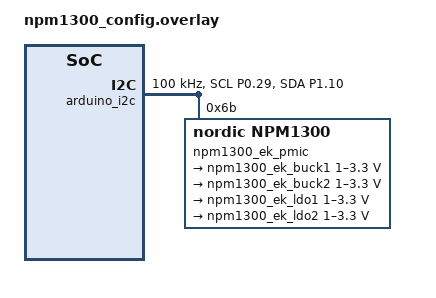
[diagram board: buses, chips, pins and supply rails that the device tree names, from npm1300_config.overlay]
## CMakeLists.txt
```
#
# Copyright (c) 2018 Nordic Semiconductor
#
# SPDX-License-Identifier: LicenseRef-Nordic-5-Clause
#
cmake_minimum_required(VERSION 3.20.0)

list(APPEND EXTRA_ZEPHYR_MODULES
  ${CMAKE_CURRENT_SOURCE_DIR}/../custom_driver_module)

find_package(Zephyr REQUIRED HINTS $ENV{ZEPHYR_BASE})
project(k901_nrf5340)

# set(SHIELD npm1300_ek)
set(LVGL_DIR ${ZEPHYR_LVGL_MODULE_DIR})
FILE(GLOB app_sources src/*.c)
target_include_directories(app PRIVATE ${CMAKE_CURRENT_SOURCE_DIR}/src/.)

target_include_directories(app PRIVATE ${LVGL_DIR}/demos/)

list(APPEND CMAKE_MODULE_PATH ${ZEPHYR_BASE}/modules/nanopb)
include(nanopb)

# zephyr_library()
# zephyr_include_directories(${CMAKE_CURRENT_BINARY_DIR})
# zephyr_nanopb_sources(${ZEPHYR_CURRENT_LIBRARY} mentraos_ble.proto)
# zephyr_nanopb_sources(app ${CMAKE_CURRENT_SOURCE_DIR}/mentraos_ble.proto)

# NORDIC SDK APP START
target_sources(app PRIVATE src/main.c)
add_subdirectory(src/BspLog)
add_subdirectory(src/xyzn_driver/bsp)
add_subdirectory(src/xyzn_driver/bspal)
add_subdirectory(src/xyzn_app)
add_subdirectory(src/xyzn_app/protocol_ble)
add_subdirectory(src/xyzn_components/xyzn_ble)
add_subdirectory(src/xyzn_components/xyzn_util)
add_subdirectory(src/xyzn_components/xyzn_sysport)
add_subdirectory(src/xyzn_components/xyzn_lvgl_display)
add_subdirectory(src/xyzn_components/xyzn_battery)
add_subdirectory(src/xyzn_components/xyzn_pdm)
add_subdirectory(src/xyzn_components/xyzn_proto)

target_sources_ifdef(CONFIG_LV_USE_DEMO_BENCHMARK app PRIVATE
    ${LVGL_DIR}/demos/benchmark/assets/img_benchmark_avatar.c
    ${LVGL_DIR}/demos/benchmark/assets/img_benchmark_lvgl_logo_argb.c
    ${LVGL_DIR}/demos/benchmark/assets/img_benchmark_lvgl_logo_rgb.c
    ${LVGL_DIR}/demos/benchmark/assets/lv_font_benchmark_montserrat_12_compr_az.c.c
    ${LVGL_DIR}/demos/benchmark/assets/lv_font_benchmark_montserrat_16_compr_az.c.c
    ${LVGL_DIR}/demos/benchmark/assets/lv_font_benchmark_montserrat_28_compr_az.c.c
    ${LVGL_DIR}/demos/benchmark/lv_demo_benchmark.c
)

target_sources_ifdef(CONFIG_LV_USE_DEMO_WIDGETS app PRIVATE
    ${LVGL_DIR}/demos/widgets/assets/img_clothes.c
    ${LVGL_DIR}/demos/widgets/assets/img_demo_widgets_avatar.c
    ${LVGL_DIR}/demos/widgets/assets/img_demo_widgets_needle.c
    ${LVGL_DIR}/demos/widgets/assets/img_lvgl_logo.c
    ${LVGL_DIR}/demos/widgets/lv_demo_widgets.c
)

zephyr_library_include_directories(.)

# NORDIC SDK APP END
```

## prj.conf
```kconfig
# Enable the UART driver
CONFIG_UART_ASYNC_API=n
CONFIG_NRFX_UARTE0=n
CONFIG_SERIAL=n # 开启/关闭串口


# 设置log延时模式
CONFIG_LOG_MODE_DEFERRED=y
#设置log同步模式
CONFIG_LOG_MODE_IMMEDIATE=n
#设置log最小模式
CONFIG_LOG_MODE_MINIMAL=n
#允许丢弃旧的消息
CONFIG_LOG_MODE_OVERFLOW=n
#设置log缓存大小
CONFIG_LOG_BUFFER_SIZE=1024
# # 设置log打印级别
# CONFIG_LOG_DEFAULT_LEVEL=4
# #设置INFO级别log颜色为绿色
# CONFIG_LOG_INFO_COLOR_GREEN=y
# # #设置log打印错误为红色警告为黄色
# CONFIG_LOG_BACKEND_SHOW_COLOR=y
# 开启log打印模块
CONFIG_CONSOLE=y

# Config logger
CONFIG_LOG=y
# 开启rtt log打印
CONFIG_USE_SEGGER_RTT=y 
# 开启rtt log打印缓冲
CONFIG_LOG_BACKEND_RTT=y 
CONFIG_LOG_BACKEND_UART=n
# 开启log打印模块，接管printk打印
CONFIG_LOG_PRINTK=y         
CONFIG_ASSERT=y
 # 开启/ 关闭log rtt打印模块
CONFIG_RTT_CONSOLE=y   
# 开启/关闭log串口打印模块
CONFIG_UART_CONSOLE=n   

CONFIG_LOG_MODE_IMMEDIATE=y 
# 配置rtt打印缓存大小
CONFIG_SEGGER_RTT_BUFFER_SIZE_UP=4096
# 浮点打印开关，占用code 1K左右
CONFIG_CBPRINTF_FP_SUPPORT=y

# 堆内存池大小（字节）
CONFIG_HEAP_MEM_POOL_SIZE=40960

# CONFIG_BT_GATT_DYNAMIC_DB=y
CONFIG_BT=y
CONFIG_BT_DEVICE_APPEARANCE=448
CONFIG_BT_PERIPHERAL=y
# CONFIG_BT_DEVICE_NAME="Nordic_UART_Service_test"
CONFIG_BT_DEVICE_NAME_DYNAMIC=y
CONFIG_BT_MAX_CONN=1
CONFIG_BT_MAX_PAIRED=1
#设置 Bluetooth LE 接收线程的栈空间
CONFIG_BT_RX_STACK_SIZE=2048
#设置 Bluetooth LE 发送线程的栈空间
CONFIG_BT_HCI_TX_STACK_SIZE=1024
#多协议服务层（MPSL）相关线程的栈空间
CONFIG_MPSL_WORK_STACK_SIZE=1024

CONFIG_BT_L2CAP_TX_MTU=517
CONFIG_BT_BUF_ACL_TX_SIZE=521
CONFIG_BT_BUF_ACL_RX_SIZE=521
CONFIG_BT_BUF_ACL_TX_COUNT=7
# CONFIG_BT_CTLR_DATA_LENGTH_MAX=251

# Enable the NUS service
# CONFIG_BT_NUS=y
CONFIG_BT_USER_PHY_UPDATE=y
CONFIG_BT_USER_DATA_LEN_UPDATE=y

CONFIG_NRF_SECURITY=y
CONFIG_MBEDTLS_PSA_CRYPTO_C=y
CONFIG_PSA_WANT_ALG_CMAC=y
CONFIG_PSA_WANT_KEY_TYPE_AES=y
CONFIG_PSA_WANT_AES_KEY_SIZE_128=y
CONFIG_PSA_WANT_ALG_ECDSA=y
CONFIG_PSA_WANT_KEY_TYPE_ECC_KEY_PAIR_IMPORT=y
# Enable bonding
# CONFIG_BT_SETTINGS=y
CONFIG_FLASH=y
CONFIG_FLASH_PAGE_LAYOUT=y
CONFIG_FLASH_MAP=y
CONFIG_SETTINGS=n

CONFIG_SYSTEM_WORKQUEUE_STACK_SIZE=2048
# CONFIG_ISR_STACK_SIZE=4096
CONFIG_SPI=y

CONFIG_GPIO=y
# CONFIG_SOC_NRF53_CPUNET_ENABLE=y

CONFIG_MAIN_STACK_SIZE=4096
#配置main主任务优先级，空闲任务优先级为默认15，可抢占任务优先级为0~15（可配置宏：CONFIG_NUM_PREEMPT_PRIORITIES）
CONFIG_MAIN_THREAD_PRIORITY=14


CONFIG_LVGL=y
# # CONFIG_LV_Z_MEM_POOL_SIZE=49152
CONFIG_LV_Z_MEM_POOL_SIZE=102400
# CONFIG_LV_Z_SHELL=y
CONFIG_LV_USE_MONKEY=y
CONFIG_LV_COLOR_DEPTH_1=y

CONFIG_INPUT=y

CONFIG_LV_FONT_MONTSERRAT_12=y
CONFIG_LV_FONT_MONTSERRAT_14=y
CONFIG_LV_FONT_MONTSERRAT_16=y
CONFIG_LV_FONT_MONTSERRAT_18=y
CONFIG_LV_FONT_MONTSERRAT_24=y
CONFIG_LV_FONT_MONTSERRAT_30=y
CONFIG_LV_FONT_MONTSERRAT_48=y

CONFIG_LV_USE_FONT_COMPRESSED=y
CONFIG_DISPLAY_LOG_LEVEL_ERR=y
CONFIG_LV_USE_LOG=y
# CONFIG_LV_Z_LOG_LEVEL=2
CONFIG_LV_Z_DEMO_BENCHMARK=y
# CONFIG_LV_Z_AUTO_INIT=n
CONFIG_LV_Z_DOUBLE_VDB=y
#修改了这里的值，注意驱动层的缓冲buff长度 ，不要超过20%
CONFIG_LV_Z_VDB_SIZE=10
CONFIG_LV_Z_VDB_CUSTOM_SECTION=n

# CONFIG_LV_USE_SYSMON=y
# CONFIG_LV_USE_PERF_MONITOR=y

CONFIG_DISPLAY=y
CONFIG_CUSTOM_HLS12VGA=y

# CONFIG_STACK_CANARIES=y
# CONFIG_STACK_USAGE=y

# Enable FOTA over Bluetooth LE
CONFIG_NCS_SAMPLE_MCUMGR_BT_OTA_DFU=y


CONFIG_MCUMGR_GRP_ZBASIC=y
CONFIG_MCUMGR_GRP_ZBASIC_STORAGE_ERASE=y
# CONFIG_PM_OVERRIDE_EXTERNAL_DRIVER_CHECK=y


CONFIG_CJSON_LIB=y
CONFIG_NEWLIB_LIBC=y
CONFIG_NEWLIB_LIBC_FLOAT_PRINTF=y
CONFIG_NEWLIB_LIBC_NANO=n



CONFIG_RING_BUFFER=y

CONFIG_FILE_SYSTEM=y
CONFIG_FILE_SYSTEM_LITTLEFS=y
# CONFIG_FS_LOG_LEVEL=3
#LittleFS 的缓存大小（字节）
CONFIG_FS_LITTLEFS_CACHE_SIZE=1024
#LittleFS 块的擦写周期上限，用于磨损均衡
CONFIG_FS_LITTLEFS_BLOCK_CYCLES=512
#LittleFS 读操作的最小单位（字节）
CONFIG_FS_LITTLEFS_READ_SIZE=32
#LittleFS 写操作的最小单位（字节）
CONFIG_FS_LITTLEFS_PROG_SIZE=32
#LittleFS 查找窗口的大小（字节），用于查找文件时，在文件系统上查找的窗口大小
CONFIG_FS_LITTLEFS_LOOKAHEAD_SIZE=64


# 在系统配置中包括当前/电压调节器的驱动程序
CONFIG_REGULATOR=y
CONFIG_SENSOR=y
CONFIG_I2C=y
CONFIG_LED=y
CONFIG_NRF_FUEL_GAUGE=y
CONFIG_NRF_FUEL_GAUGE_VARIANT_SECONDARY_CELL=y
CONFIG_TFM_SECURE_UART=n
CONFIG_TFM_LOG_LEVEL_SILENCE=y

CONFIG_PM_DEVICE=y
CONFIG_NRFX_TWIM0=y
## thread monitor ##
CONFIG_THREAD_ANALYZER=y
CONFIG_THREAD_NAME=y




######test load##############
# CONFIG_ZTEST=y
CONFIG_CPU_LOAD=y
CONFIG_NRFX_TIMER1=y
CONFIG_CPU_LOAD_USE_SHARED_DPPI_CHANNELS=y


#watchdog
CONFIG_WDT_LOG_LEVEL_DBG=n
CONFIG_WATCHDOG=y
CONFIG_WDT_DISABLE_AT_BOOT=n

CONFIG_CMSIS_DSP=y
CONFIG_SW_CODEC_LC3_T2_SOFTWARE=y
CONFIG_LC3_ENC_CHAN_MAX=2
CONFIG_LC3_DEC_CHAN_MAX=2

CONFIG_FPU=y
CONFIG_NRFX_PDM0=y
CONFIG_AUDIO=y
CONFIG_AUDIO_DMIC=y
CONFIG_AUDIO_DMIC_NRFX_PDM=y
```

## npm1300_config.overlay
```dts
/*
 * Copyright (C) 2023 Nordic Semiconductor ASA
 * SPDX-License-Identifier: Apache-2.0
 */

#include <dt-bindings/regulator/npm1300.h>
#include <zephyr/dt-bindings/input/input-event-codes.h>

&pinctrl {
    arduino_i2c_default: arduino_i2c_default {
        group1 {
            psels = <NRF_PSEL(TWIM_SCL, 0, 29)>,
                    <NRF_PSEL(TWIM_SDA, 1, 10)>;
            bias-pull-up;
        };
    };
    arduino_i2c_sleep: arduino_i2c_sleep {
        group1 {
            psels = <NRF_PSEL(TWIM_SCL, 0, 29)>,
                    <NRF_PSEL(TWIM_SDA, 1, 10)>;
            low-power-enable;
        };
    };
};

&arduino_i2c {
    status = "okay";
    pinctrl-0 = <&arduino_i2c_default>;
    pinctrl-1 = <&arduino_i2c_sleep>;
    pinctrl-names = "default", "sleep";
    clock-frequency = <I2C_BITRATE_STANDARD>;

    npm1300_ek_pmic: pmic@6b {
        compatible = "nordic,npm1300";
        reg = <0x6b>;
        // ship-to-active-time = <96>;
        // long-press-reset = "one_button";
        npm1300_ek_gpio: gpio-controller {
            compatible = "nordic,npm1300-gpio";
            gpio-controller;
            #gpio-cells = <2>;
            ngpios = <5>;
            // phandle = <6>;
        };
        npm1300_ek_regulators: regulators {
            compatible = "nordic,npm1300-regulator";

            npm1300_ek_buck1: BUCK1 {
                regulator-min-microvolt = <1000000>;
                regulator-max-microvolt = <3300000>;
                retention-microvolt = <1200000>;
            };
            npm1300_ek_buck2: BUCK2 {
                regulator-min-microvolt = <1000000>;
                regulator-max-microvolt = <3300000>;
                retention-microvolt = <1800000>;
            };

            npm1300_ek_ldo1: LDO1 {
                regulator-min-microvolt = <1000000>;
                regulator-max-microvolt = <3300000>;
                regulator-initial-mode = <NPM1300_LDSW_MODE_LDSW>;
                regulator-boot-on;
            };
            npm1300_ek_ldo2: LDO2 {
                regulator-min-microvolt = <1000000>;
                regulator-max-microvolt = <3300000>;
                regulator-initial-mode = <NPM1300_LDSW_MODE_LDSW>;
                regulator-boot-on;
            };

        };

        npm1300_ek_charger: charger {
            compatible = "nordic,npm1300-charger";
            term-microvolt = <4250000>;
            term-warm-microvolt = <3600000>;// 充电终止电压
            // term-current-percent = <10>;
            current-microamp = <800000>;// 限制充电电流(uA)
            // current-microamp = <150000>;// 限制充电电流(uA)
            // trickle-microvolt = <2900000>;
            // dischg-limit-microamp = <200000>; // 限制放电电流(uA)
            dischg-limit-microamp = <1000000>; // 限制放电电流(uA)
            vbus-limit-microamp = <500000>;
            thermistor-ohms = <10000>;
            thermistor-beta = <3380>;

            charging-enable;
            vbatlow-charge-enable;
        };


        npm1300_ek_leds: leds {
            compatible = "nordic,npm1300-led";
            nordic,led0-mode = "error";
            nordic,led1-mode = "charging";
            nordic,led2-mode = "host";
        };

    };
};
```

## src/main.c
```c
/*
 * @Author       : XK
 * @Date         : 2025-07-09 12:30:39
 * @LastEditTime : 2025-07-23 12:44:36
 * @FilePath     : main.c
 * @Description  :
 *
 * Copyright (c) XingYiZhiNeng 2025 , All Rights Reserved.
 */

#include <uart_async_adapter.h>

#include <zephyr/types.h>
#include <zephyr/kernel.h>
#include <zephyr/drivers/uart.h>
#include <zephyr/usb/usb_device.h>

#include <zephyr/device.h>
#include <zephyr/devicetree.h>
#include <soc.h>

#include <zephyr/bluetooth/bluetooth.h>
#include <zephyr/bluetooth/gap.h>
#include <zephyr/bluetooth/uuid.h>
#include <zephyr/bluetooth/gatt.h>
#include <zephyr/bluetooth/hci.h>

// #include <bluetooth/services/nus.h>
#include <zephyr/settings/settings.h>

#include <stdio.h>
#include <string.h>
#include <zephyr/logging/log.h>
/******************************************* */
#include "nrfx_clock.h"
#include "bsp_log.h"
#include "xyzn_config.h"
#include "main.h"
#include "xyzn_ble.h"
#include "xyzn_ble_service.h"
#include "bsp_board_mcu.h"
#include "protocol_ble_send.h"
#include "protocol_ble_process.h"
#include "protocol_image_cache.h"
#include "xyzn_lvgl_display.h"
#include "task_process.h"
#include "task_interrupt.h"
#include "bspal_watchdog.h"
#include "task_lc3_codec.h"
#define TAG "MAIN"

static struct bt_conn *my_current_conn;

static uint16_t payload_mtu = 20;  // 默认MTU长度
static bool ble_connected = false; // 默认未连接
#define BLE_NAME_MAX_LEN 20
static uint8_t device_name[BLE_NAME_MAX_LEN] = "1234567890";

#define BT_GAP_PER_ADV_MS_TO_INTERVAL(ms) ((ms) * 1000 / 625)

static struct bt_le_adv_param g_adv_param;

#define BLE_AD_IDX_FLAGS 0
#define BLE_AD_IDX_NAME 1
#define BLE_AD_IDX_XY_TEST 2
static uint8_t xyzn_test_ad_data[11] = {0x4B, 0X39, 0X30, 0X30, 0X30, 0X30, 0X30, 0X30, 0X30, 0X30, 0X30};
static uint8_t xyzn_test_sd_data[11] = {0x22, 0XB8, 0X00, 0X08, 0XFF, 0X01, 0X30, 0X30, 0X30, 0X30, 0X30};
/******************************************* */

#define LOG_MODULE_NAME main
LOG_MODULE_REGISTER(LOG_MODULE_NAME);

static K_SEM_DEFINE(ble_init_ok, 0, 1);

static struct bt_conn *auth_conn;
static struct k_work adv_work;

static struct bt_data ad[] = {
	[BLE_AD_IDX_FLAGS] = BT_DATA_BYTES(BT_DATA_FLAGS, (BT_LE_AD_GENERAL | BT_LE_AD_NO_BREDR)),
	[BLE_AD_IDX_NAME] = BT_DATA(BT_DATA_NAME_COMPLETE, device_name, (sizeof(device_name) - 1)),
	// [BLE_AD_IDX_XY_TEST] = BT_DATA(BT_DATA_GAP_APPEARANCE, xyzn_test_ad_data, (sizeof(xyzn_test_ad_data) - 1)), // test
};

static const struct bt_data sd[] = {
	// BT_DATA_BYTES(BT_DATA_UUID128_ALL, BT_UUID_MY_SERVICE_VAL),
	BT_DATA(BT_DATA_MANUFACTURER_DATA, xyzn_test_sd_data, (sizeof(xyzn_test_sd_data) - 1)), // test
};

#ifdef CONFIG_UART_ASYNC_ADAPTER
UART_ASYNC_ADAPTER_INST_DEFINE(async_adapter);
#else
#define async_adapter NULL
#endif
void ble_init_sem_give(void)
{
	k_sem_give(&ble_init_ok); // 通知蓝牙初始化完成
}
/**
 * @description: 等待蓝牙初始化完成
 * @return int 0:成功，其他:失败
 */
int ble_init_sem_take(void)
{
	return k_sem_take(&ble_init_ok, K_FOREVER);
}
void adv_set_ble_name(const uint8_t *data, uint8_t data_len)
{
	if (data_len < sizeof(device_name))
	{
		memset(device_name, 0, sizeof(device_name));
		memcpy(device_name, data, data_len);

		ad[BLE_AD_IDX_NAME].data = device_name;
		ad[BLE_AD_IDX_NAME].data_len = data_len;
		BSP_LOGI(TAG, "Set BLE name to[%d]: %s", data_len, device_name);
	}
	else
	{
		BSP_LOGW(TAG, "Name too long to set in adv");
	}
}
void ble_name_update_data(const char *name)
{
	if (name == NULL || strlen(name) > BLE_NAME_MAX_LEN)
	{
		BSP_LOGE(TAG, "Invalid name provided ERR");
		return;
	}
	char ble_name[BLE_NAME_MAX_LEN + 1];
	memset(ble_name, 0, sizeof(ble_name));
	strncpy(ble_name, name, strlen(name));

	BSP_LOGI(TAG, "Updating BLE name to: %s", ble_name);
	int err = bt_set_name(ble_name);
	if (err != 0)
	{
		BSP_LOGE(TAG, "Failed to set name (err %d)", err);
		return;
	}
	adv_set_ble_name((const uint8_t *)ble_name, strlen(ble_name));

	err = bt_le_adv_update_data(ad, ARRAY_SIZE(ad), sd, ARRAY_SIZE(sd));
	if (err != 0)
	{
		LOG_ERR("Failed to update adv data (err %d)", err);
	}
}
void get_ble_mac_addr(uint8_t *mac_addr, uint8_t mac_addr_len)
{
	if ((mac_addr == NULL) || (mac_addr_len < BT_ADDR_LE_STR_LEN))
	{
		BSP_LOGE(TAG, "Invalid mac_addr provided err");
		return;
	}
	bt_addr_le_t addr;
	size_t count = 1;
	bt_id_get(&addr, &count);

	char addr_str[BT_ADDR_LE_STR_LEN];
	bt_addr_le_to_str(&addr, addr_str, sizeof(addr_str));
	// snprintf((char *)mac_addr, 17, "%s", addr_str); // CF:53:47:E4:94:88
	memcpy((uint8_t *)mac_addr, addr_str, 17);
	BSP_LOGI(TAG, "Bluetooth address:%s", addr_str);
}
static void adv_work_handler(struct k_work *work)
{
	int err;
	int retry;
	for (retry = 0; retry < 5; retry++) // 累计尝试5次
	{
		err = bt_le_adv_start(&g_adv_param, ad, ARRAY_SIZE(ad), sd, ARRAY_SIZE(sd));
		if (err == 0)
		{
			LOG_INF("Advertising successfully started (try %d)", retry + 1);
			return;
		}
		LOG_ERR("Advertising failed to start (err %d), try %d", err, retry + 1);
		// 如果不是第一次，尝试 stop 再 start
		if (retry > 0)
		{
			int stop_err = bt_le_adv_stop();
			if (stop_err != 0)
			{
				LOG_ERR("Advertising failed to stop (err %d)", stop_err);
			}
		}
		xyzn_os_delay_ms(20); // 短暂等待后再重试
	}
	LOG_ERR("Advertising failed to start after %d retries", retry);
}

void advertising_start(void)
{
	k_work_submit(&adv_work); // 向系统队列提交工作项目
}

static void recycled_cb(void)
{
	LOG_INF("Connection object available from previous conn. Disconnect is complete!");
	advertising_start();
}

#ifdef CONFIG_BT_NUS_SECURITY_ENABLED
static void security_changed(struct bt_conn *conn, bt_security_t level,
							 enum bt_security_err err)
{
	char addr[BT_ADDR_LE_STR_LEN];
	bt_addr_le_to_str(bt_conn_get_dst(conn), addr, sizeof(addr));

	if (!err)
	{
		LOG_INF("Security changed: %s level %u", addr, level);
	}
	else
	{
		LOG_WRN("Security failed: %s level %u err %d %s", addr, level, err,
				bt_security_err_to_str(err));
	}
}
#endif

#if defined(CONFIG_BT_NUS_SECURITY_ENABLED)
static void auth_passkey_display(struct bt_conn *conn, unsigned int passkey)
{
	char addr[BT_ADDR_LE_STR_LEN];

	bt_addr_le_to_str(bt_conn_get_dst(conn), addr, sizeof(addr));

	LOG_INF("Passkey for %s: %06u", addr, passkey);
}

static void auth_passkey_confirm(struct bt_conn *conn, unsigned int passkey)
{
	char addr[BT_ADDR_LE_STR_LEN];

	auth_conn = bt_conn_ref(conn);

	bt_addr_le_to_str(bt_conn_get_dst(conn), addr, sizeof(addr));

	LOG_INF("Passkey for %s: %06u", addr, passkey);

	if (IS_ENABLED(CONFIG_SOC_SERIES_NRF54HX) || IS_ENABLED(CONFIG_SOC_SERIES_NRF54LX))
	{
		LOG_INF("Press Button 0 to confirm, Button 1 to reject.");
	}
	else
	{
		LOG_INF("Press Button 1 to confirm, Button 2 to reject.");
	}
}

static void auth_cancel(struct bt_conn *conn)
{
	char addr[BT_ADDR_LE_STR_LEN];

	bt_addr_le_to_str(bt_conn_get_dst(conn), addr, sizeof(addr));

	LOG_INF("Pairing cancelled: %s", addr);
}

static void pairing_complete(struct bt_conn *conn, bool bonded)
{
	char addr[BT_ADDR_LE_STR_LEN];

	bt_addr_le_to_str(bt_conn_get_dst(conn), addr, sizeof(addr));

	LOG_INF("Pairing completed: %s, bonded: %d", addr, bonded);
}

static void pairing_failed(struct bt_conn *conn, enum bt_security_err reason)
{
	char addr[BT_ADDR_LE_STR_LEN];

	bt_addr_le_to_str(bt_conn_get_dst(conn), addr, sizeof(addr));

	LOG_INF("Pairing failed conn: %s, reason %d %s", addr, reason,
			bt_security_err_to_str(reason));
}

static struct bt_conn_auth_cb conn_auth_callbacks = {
	.passkey_display = auth_passkey_display,
	.passkey_confirm = auth_passkey_confirm,
	.cancel = auth_cancel,
};

static struct bt_conn_auth_info_cb conn_auth_info_callbacks = {
	.pairing_complete = pairing_complete,
	.pairing_failed = pairing_failed};
#else
static struct bt_conn_auth_cb conn_auth_callbacks;
static struct bt_conn_auth_info_cb conn_auth_info_callbacks;
#endif
static void bt_receive_cb(struct bt_conn *conn,
						  const uint8_t *const data,
						  uint16_t len)
{
	// char addr[BT_ADDR_LE_STR_LEN] = {0};
	// bt_addr_le_to_str(bt_conn_get_dst(conn), addr, ARRAY_SIZE(addr));
	// LOG_INF("Received data from: %s", addr);
	ble_receive_fragment(data, len);
}

static void update_data_length(struct bt_conn *conn)
{
	int err;
	struct bt_conn_le_data_len_param my_data_len =
		{
			.tx_max_len = BT_GAP_DATA_LEN_MAX,
			.tx_max_time = BT_GAP_DATA_TIME_MAX,
		};
	err = bt_conn_le_data_len_update(my_current_conn, &my_data_len);
	if (err)
	{
		LOG_ERR("data_len_update failed (err %d)", err);
	}
}

static void update_phy(struct bt_conn *conn)
{
	int err;
	const struct bt_conn_le_phy_param preferred_phy = {
		.options = BT_CONN_LE_PHY_OPT_NONE,
		.pref_rx_phy = BT_GAP_LE_PHY_2M,
		.pref_tx_phy = BT_GAP_LE_PHY_2M,
	};
	err = bt_conn_le_phy_update(conn, &preferred_phy);
	if (err)
	{
		LOG_ERR("bt_conn_le_phy_update() returned %d", err);
	}
}
void set_ble_connected_status(bool connected)
{
	ble_connected = connected;
}
/**
 * @retval 获取当前 BLE 连接状态
 * @return false 未连接，true 已连接
 */
bool get_ble_connected_status(void)
{
	return ble_connected;
}
static void my_connected(struct bt_conn *conn, uint8_t err)
{
	char addr[BT_ADDR_LE_STR_LEN];
	if (err)
	{
		LOG_ERR("Connection failed, err 0x%02x %s", err, bt_hci_err_to_str(err));
		return;
	}
	bt_addr_le_to_str(bt_conn_get_dst(conn), addr, sizeof(addr));
	LOG_INF("Connected: %s", addr);
	my_current_conn = bt_conn_ref(conn);
	set_ble_connected_status(true);
	/* Update the connection parameters */
	struct bt_conn_info info;
	err = bt_conn_get_info(conn, &info);
	if (err)
	{
		LOG_ERR("bt_conn_get_info() returned %d", err);
		return;
	}
	double connection_interval = info.le.interval * 1.25; // in ms
	uint16_t supervision_timeout = info.le.timeout * 10;  // in ms
	LOG_INF("my_connected -> Connection parameters: interval %.2f ms, latency %d intervals, timeout %d ms",
			connection_interval, info.le.latency, supervision_timeout);

	/* Update the PHY mode */
	// update_phy(my_current_conn);
	/* Update the data length and MTU */
	// update_data_length(my_current_conn);
	// update_mtu(my_current_conn);
}
static void my_disconnected(struct bt_conn *conn, uint8_t reason)
{
	char addr[BT_ADDR_LE_STR_LEN];
	bt_addr_le_to_str(bt_conn_get_dst(conn), addr, sizeof(addr));
	LOG_INF("Disconnected: %s, reason 0x%02x %s", addr, reason, bt_hci_err_to_str(reason));
	set_ble_connected_status(false);
	if (auth_conn)
	{
		bt_conn_unref(auth_conn);
		auth_conn = NULL;
	}
	if (my_current_conn)
	{
		bt_conn_unref(my_current_conn);
		my_current_conn = NULL;
	}
}
void on_le_param_updated(struct bt_conn *conn,
						 uint16_t interval,
						 uint16_t latency,
						 uint16_t timeout)
{
	double connection_interval = interval * 1.25; // in ms
	uint16_t supervision_timeout = timeout * 10;  // in ms
	LOG_INF("on_le_param_updated -> Connection parameters updated: interval %.2f ms, latency %d intervals, timeout %d ms",
			connection_interval, latency, supervision_timeout);
}
void on_le_phy_updated(struct bt_conn *conn, struct bt_conn_le_phy_info *param)
{
	if (param->tx_phy == BT_CONN_LE_TX_POWER_PHY_1M)
	{
		LOG_INF("PHY updated. New PHY: 1M");
	}
	else if (param->tx_phy == BT_CONN_LE_TX_POWER_PHY_2M)
	{
		LOG_INF("PHY updated. New PHY: 2M");
	}
	else if (param->tx_phy == BT_CONN_LE_TX_POWER_PHY_CODED_S8)
	{
		LOG_INF("PHY updated. New PHY: Long Range");
	}
}
void on_le_data_len_updated(struct bt_conn *conn, struct bt_conn_le_data_len_info *info)
{
	uint16_t tx_len = info->tx_max_len;
	uint16_t tx_time = info->tx_max_time;
	uint16_t rx_len = info->rx_max_len;
	uint16_t rx_time = info->rx_max_time;
	LOG_INF("Data length updated. Length %d/%d bytes, time %d/%d us", tx_len, rx_len, tx_time, rx_time);
}

BT_CONN_CB_DEFINE(conn_callbacks) = {
	.connected = my_connected,
	.disconnected = my_disconnected,
	.recycled = recycled_cb,
	.le_param_updated = on_le_param_updated,
	.le_phy_updated = on_le_phy_updated,
	.le_data_len_updated = on_le_data_len_updated,
#ifdef CONFIG_BT_NUS_SECURITY_ENABLED
	.security_changed = security_changed,
#endif
};
/**
 * @brief 获取当前MTU
 */
uint16_t get_ble_payload_mtu(void)
{
	return payload_mtu;
}
void mtu_updated(struct bt_conn *conn, uint16_t tx, uint16_t rx)
{
	payload_mtu = bt_gatt_get_mtu(conn) - 3; // 3 bytes used for Attribute headers.
	LOG_INF("Updated MTU: TX: %d RX: %d bytes", tx, rx);
	LOG_INF("Updated MTU: %d; Payload=[%d] ", payload_mtu + 3, payload_mtu);
}
static struct bt_gatt_cb gatt_callbacks = {
	.att_mtu_updated = mtu_updated};
/**
 * @brief 蓝牙广播间隔设置
 * @param time_ms
 */
void ble_interval_set(uint16_t min, uint16_t max)
{
	g_adv_param.options = BT_LE_ADV_OPT_CONN | BT_LE_ADV_OPT_USE_IDENTITY;
	g_adv_param.interval_min = BT_GAP_PER_ADV_MS_TO_INTERVAL(min);
	g_adv_param.interval_max = BT_GAP_PER_ADV_MS_TO_INTERVAL(max);
}

static struct custom_nus_cb my_nus_cb = {
	.received = bt_receive_cb,
	// .sent = bt_sent_cb,
	// .send_enabled = bt_notify_cb,
};

static void app_info(void)
{
	BSP_LOGI(TAG,
			 "\n\n-------------------------------------------\n|\n"
			 "|	[%s] \n|\n"
			 "|	Firm Version: %s\n"
			 "|	Build Time: %s %s\n"
			 "|	IDF Version: %s\n|\n"
			 "-------------------------------------------\n",
			 XYZN_PROJECT_NAME,
			 XYZN_FIRMWARE_VERSION,
			 XYZN_COMPILE_DATE, XYZN_COMPILE_TIME,
			 XYZN_SDK_VERSION);
}

static int hfclock_config_and_start(void)
{
	int ret;
	/* Use this to turn on 128 MHz clock for cpu_app */
	ret = nrfx_clock_divider_set(NRF_CLOCK_DOMAIN_HFCLK, NRF_CLOCK_HFCLK_DIV_1);
	ret -= NRFX_ERROR_BASE_NUM;
	if (ret)
	{
		return ret;
	}
	nrfx_clock_hfclk_start();
	while (!nrfx_clock_hfclk_is_running())
	{
	}
	return 0;
}
// 初始化高频时钟128Mhz运行模式
SYS_INIT(hfclock_config_and_start, POST_KERNEL, 0);

int main(void)
{
	int err = 0;
	app_info();
	g_adv_param = *(BT_LE_ADV_CONN_FAST_2);
	ble_interval_set(100, 100); // 设置广播间隔
	if (IS_ENABLED(CONFIG_BT_NUS_SECURITY_ENABLED))
	{
		err = bt_conn_auth_cb_register(&conn_auth_callbacks);
		if (err)
		{
			LOG_ERR("Failed to register authorization callbacks. (err: %d)", err);
			return 0;
		}

		err = bt_conn_auth_info_cb_register(&conn_auth_info_callbacks);
		if (err)
		{
			LOG_ERR("Failed to register authorization info callbacks. (err: %d)", err);
			return 0;
		}
	}

	err = bt_enable(NULL);
	if (err)
	{
		LOG_INF("Bluetooth not enabled (err: %d)", err);
	}
	LOG_INF("Bluetooth initialized 001");
	ble_init_sem_give();
	if (IS_ENABLED(CONFIG_SETTINGS))
	{
		settings_load();
	}
	err = custom_nus_init(&my_nus_cb);
	if (err)
	{
		LOG_ERR("Failed to bt_nus_init service (err: %d)", err);
		return 0;
	}
	k_work_init(&adv_work, adv_work_handler);
	advertising_start();

	bt_gatt_cb_register(&gatt_callbacks);

	xyzn_os_delay_ms(1000);
	image_cache_init();
	bsp_board_mcu_init();

	lvgl_dispaly_thread();
	ble_protocol_receive_thread();
	ble_protocol_send_thread();
	protocol_ble_process_thread();

	task_process_thread();
	task_interrupt_thread();
	task_lc3_codec_thread();

	uint8_t mac[BT_ADDR_LE_STR_LEN] = {0};
	get_ble_mac_addr(mac, sizeof(mac));
	ble_name_update_data(mac);
	int count = 0;
	static int clk_128_flag = 0;

	for (;;)
	{
		BSP_LOGI(TAG, "Starting main thread %d", count++);
		primary_feed_worker();
		xyzn_os_delay_ms(10000);
		if (clk_128_flag == 0)
		{
			uint32_t clk = NRF_CLOCK->HFCLKCTRL;
			if ((clk & 0x1) == 0)
			{
				clk_128_flag = 1;
				LOG_INF("HFCLKCTRL: 128 MHz");
			}
			else
			{
				LOG_INF("HFCLKCTRL: 64 MHz");
			}
		}
	}
}
```
